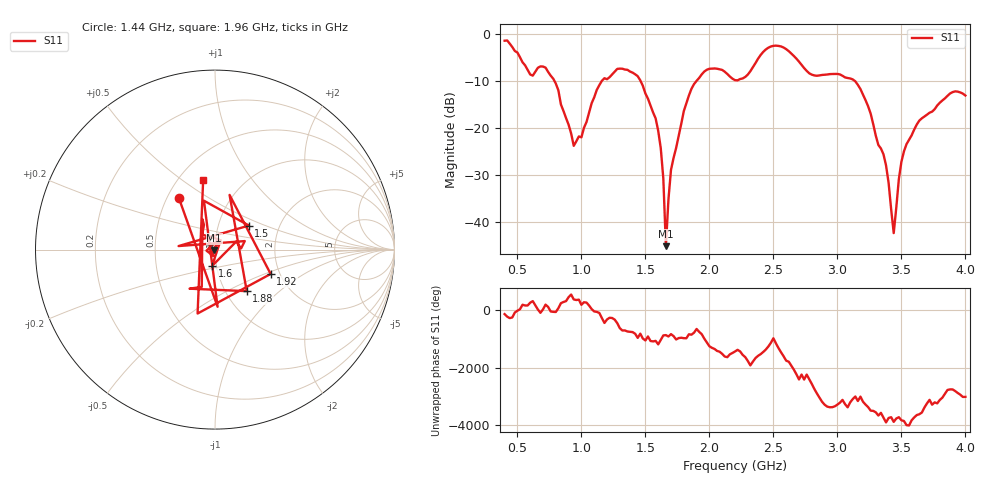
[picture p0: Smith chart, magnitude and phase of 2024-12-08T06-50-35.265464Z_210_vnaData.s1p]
!Created with skrf (http://scikit-rf.org).
# Hz S RI R 50.0
!freq ReS11 ImS11
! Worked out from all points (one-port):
!   181 points, 400 MHz to 4 GHz, reference 50 ohm
!   lowest |S11| = -45.1 dB at 1.66 GHz (marker M1), VSWR 1.01, Z = 49.6 - j0.366 ohm
!   |S11| at or under -10 dB: 788.3 MHz to 1.161 GHz (372.5 MHz wide, 38.2 % of centre); 1.461 GHz to 1.901 GHz (439.6 MHz wide, 26.1 % of centre); 3.134 GHz to end of sweep
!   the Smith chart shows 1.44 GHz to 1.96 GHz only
!   S11 on the Smith chart (normalised r, x): 1.44 GHz: 0.57, +0.38; 1.5 GHz: 1.40, +0.40; 1.6 GHz: 0.95, -0.18; 1.88 GHz: 1.25, -0.63; 1.92 GHz: 1.79, -0.55; 1.96 GHz: 0.65, +0.61
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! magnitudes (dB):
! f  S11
! 400 MHz  -1.5
! 600 MHz  -8.7
! 720 MHz  -7.2
! 860 MHz  -16.4
! 940 MHz  -23.8
! 1.16 GHz  -10.0
! 1.3 GHz  -7.4
! 1.44 GHz  -9.0
! 1.5 GHz  -12.7
! 1.6 GHz  -20.6
! 1.64 GHz  -30.7
! 1.66 GHz  -45.1
! 1.7 GHz  -28.9
! 1.76 GHz  -21.7
! 1.88 GHz  -10.7
! 1.92 GHz  -9.4
! 1.96 GHz  -8.1
! 2.2 GHz  -9.9
! 2.48 GHz  -2.8
! 2.66 GHz  -4.8
! 3.1 GHz  -9.5
! 3.22 GHz  -14.1
! 3.36 GHz  -25.6
! 3.44 GHz  -42.3
! 3.5 GHz  -27.2
! 3.56 GHz  -22.5
! 3.88 GHz  -12.7
! 4 GHz  -13.1
